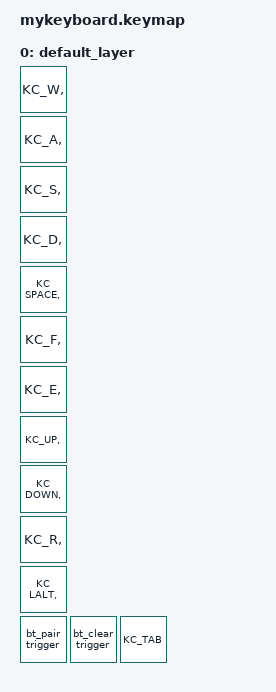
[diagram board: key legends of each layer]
#include <behaviors.dtsi>
#include <dt-bindings/zmk/keys.h>
#include <dt-bindings/zmk/bt.h>

/ {
    behaviors {
        /* 组合触发：Tab+W+S 开始蓝牙广播配对 */
        bt_pair_trigger: bt_pair_trigger {
            compatible = "zmk,behavior-hold-tap";
            label = "BT_PAIR_TRIGGER";
            #binding-cells = <0>;
            tapping-term-ms = <100>;
            bindings = <&bt BT_START_ADV>;
            hold-trigger-key-positions = <11 0 2>; /* Tab W S */
            hold-trigger-on-release;
        };

        /* 组合触发：Tab+A+D 清除蓝牙全部配对 */
        bt_clear_trigger: bt_clear_trigger {
            compatible = "zmk,behavior-hold-tap";
            label = "BT_CLEAR_TRIGGER";
            #binding-cells = <0>;
            tapping-term-ms = <100>;
            bindings = <&bt BT_CLR_ALL>;
            hold-trigger-key-positions = <11 1 3>; /* Tab A D */
            hold-trigger-on-release;
        };
    };

    keymap {
        compatible = "zmk,keymap";
        default_layer {
            bindings = <
                &kp KC_W,         // index0 P0.17 W
                &kp KC_A,         // index1 P0.20 A
                &kp KC_S,         // index2 P0.22 S
                &kp KC_D,         // index3 P0.24 D
                &kp KC_SPACE,     // index4 P0.09 空格
                &kp KC_F,         // index5 P1.04 F
                &kp KC_E,         // index6 P0.10 E
                &kp KC_UP,        // index7 P0.11 上
                &kp KC_DOWN,      // index8 P1.11 下
                &kp KC_R,         // index9 P1.00 R
                &kp KC_LALT,      // index10 P1.06 Alt
                &bt_pair_trigger &bt_clear_trigger &kp KC_TAB  // index11 P1.13 Tab
            >;
        };
    };
};
